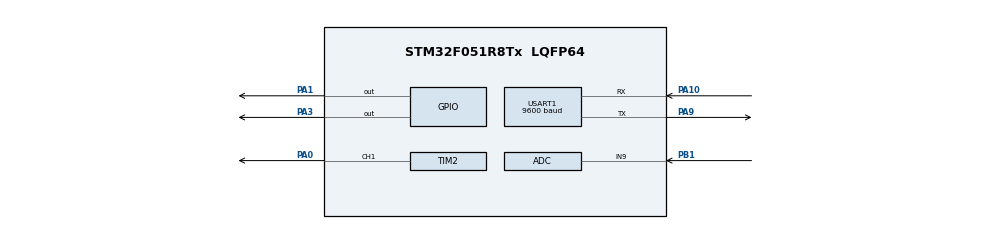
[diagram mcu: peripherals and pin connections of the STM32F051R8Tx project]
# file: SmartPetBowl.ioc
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ADC.ContinuousConvMode=ENABLE
Mcu.Family=STM32F0
Mcu.Name=STM32F051R8Tx
Mcu.Package=LQFP64
NVIC.ADC1_COMP_IRQn=true\:0\:0\:false\:false\:true\:true\:true
NVIC.TIM2_IRQn=true\:0\:0\:false\:false\:true\:true\:true
NVIC.USART1_IRQn=true\:0\:0\:false\:false\:true\:true\:true
PA0.Signal=S_TIM2_CH1_ETR
PA1.Signal=GPIO_Output
PA10.Mode=Asynchronous
PA10.Signal=USART1_RX
PA13.Mode=Serial_Wire
PA13.Signal=SYS_SWDIO
PA14.Mode=Serial_Wire
PA14.Signal=SYS_SWCLK
PA3.Signal=GPIO_Output
PA9.Mode=Asynchronous
PA9.Signal=USART1_TX
PB1.Mode=IN9
PB1.Signal=ADC_IN9
ProjectManager.HeapSize=0x200
ProjectManager.StackSize=0x400
ProjectManager.TargetToolchain=MDK-ARM V5
SH.S_TIM2_CH1_ETR.0=TIM2_CH1,PWM Generation1 CH1
TIM2.Channel-PWM\ Generation1\ CH1=TIM_CHANNEL_1
TIM2.Period=1000
TIM2.Prescaler=160
TIM2.Pulse-PWM\ Generation1\ CH1=500
USART1.BaudRate=9600
USART1.VirtualMode-Asynchronous=VM_ASYNC
board=custom

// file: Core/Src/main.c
/* USER CODE BEGIN Header */
/**
  ******************************************************************************
  * @file           : main.c
  * @brief          : Main program body
  ******************************************************************************
  * @attention
  *
  * Copyright (c) 2022 STMicroelectronics.
  * All rights reserved.
  *
  * This software is licensed under terms that can be found in the LICENSE file
  * in the root directory of this software component.
  * If no LICENSE file comes with this software, it is provided AS-IS.
  *
  ******************************************************************************
  */
/* USER CODE END Header */
#include "main.h"

/* USER CODE BEGIN Includes */
	#include "string.h"
	#include "stdio.h"
/* USER CODE END Includes */

/* USER CODE BEGIN PD */
uint16_t readValue;

/* USER CODE END PD */

ADC_HandleTypeDef hadc;

TIM_HandleTypeDef htim2;

UART_HandleTypeDef huart1;

/* USER CODE BEGIN PV */
uint8_t rxData;

/* USER CODE END PV */

void SystemClock_Config(void);
static void MX_GPIO_Init(void);
static void MX_TIM2_Init(void);
static void MX_ADC_Init(void);
static void MX_USART1_UART_Init(void);

/* USER CODE BEGIN 0 */

	void turn_on_servo(){
		HAL_Delay(400);
		TIM2->CCR1=60;
	}
	void turn_off_servo(){
		HAL_Delay(400);
		TIM2->CCR1=120;
	}

/* USER CODE END 0 */

int main(void)
{

  /* MCU Configuration--------------------------------------------------------*/

  /* Reset of all peripherals, Initializes the Flash interface and the Systick. */
  HAL_Init();

  /* Configure the system clock */
  SystemClock_Config();

  /* Initialize all configured peripherals */
  MX_GPIO_Init();
  MX_TIM2_Init();
  MX_ADC_Init();
  MX_USART1_UART_Init();
  /* USER CODE BEGIN 2 */
	HAL_TIM_PWM_Start(&htim2,TIM_CHANNEL_1);
	HAL_ADC_Start(&hadc);
	HAL_ADC_PollForConversion(&hadc,1000);
	HAL_UART_Receive_IT(&huart1,&rxData,1);

	//HAL_TIM_Base_Start_IT(&htim2);
  /* USER CODE END 2 */

  /* Infinite loop */
  while (1)
  {

    /* USER CODE BEGIN 3 */

	readValue = HAL_ADC_GetValue(&hadc);
	int adc=readValue;

		if(adc>70){
			turn_on_servo();
			HAL_Delay(1000);
			turn_off_servo();

				HAL_GPIO_WritePin(GPIOA,GPIO_PIN_3,GPIO_PIN_SET);
				HAL_Delay(1000);
				HAL_GPIO_WritePin(GPIOA,GPIO_PIN_3,GPIO_PIN_RESET);

		}

  }
  /* USER CODE END 3 */
}

void SystemClock_Config(void)
{
  RCC_OscInitTypeDef RCC_OscInitStruct = {0};
  RCC_ClkInitTypeDef RCC_ClkInitStruct = {0};
  RCC_PeriphCLKInitTypeDef PeriphClkInit = {0};

  /** Initializes the RCC Oscillators according to the specified parameters
  * in the RCC_OscInitTypeDef structure.
  */
  RCC_OscInitStruct.OscillatorType = RCC_OSCILLATORTYPE_HSI|RCC_OSCILLATORTYPE_HSI14;
  RCC_OscInitStruct.HSIState = RCC_HSI_ON;
  RCC_OscInitStruct.HSI14State = RCC_HSI14_ON;
  RCC_OscInitStruct.HSICalibrationValue = RCC_HSICALIBRATION_DEFAULT;
  RCC_OscInitStruct.HSI14CalibrationValue = 16;
  RCC_OscInitStruct.PLL.PLLState = RCC_PLL_NONE;
  if (HAL_RCC_OscConfig(&RCC_OscInitStruct) != HAL_OK)
  {
    Error_Handler();
  }
  /** Initializes the CPU, AHB and APB buses clocks
  */
  RCC_ClkInitStruct.ClockType = RCC_CLOCKTYPE_HCLK|RCC_CLOCKTYPE_SYSCLK
                              |RCC_CLOCKTYPE_PCLK1;
  RCC_ClkInitStruct.SYSCLKSource = RCC_SYSCLKSOURCE_HSI;
  RCC_ClkInitStruct.AHBCLKDivider = RCC_SYSCLK_DIV1;
  RCC_ClkInitStruct.APB1CLKDivider = RCC_HCLK_DIV1;

  if (HAL_RCC_ClockConfig(&RCC_ClkInitStruct, FLASH_LATENCY_0) != HAL_OK)
  {
    Error_Handler();
  }
  PeriphClkInit.PeriphClockSelection = RCC_PERIPHCLK_USART1;
  PeriphClkInit.Usart1ClockSelection = RCC_USART1CLKSOURCE_PCLK1;
  if (HAL_RCCEx_PeriphCLKConfig(&PeriphClkInit) != HAL_OK)
  {
    Error_Handler();
  }
}

static void MX_ADC_Init(void)
{

  ADC_ChannelConfTypeDef sConfig = {0};

  /** Configure the global features of the ADC (Clock, Resolution, Data Alignment and number of conversion)
  */
  hadc.Instance = ADC1;
  hadc.Init.ClockPrescaler = ADC_CLOCK_ASYNC_DIV1;
  hadc.Init.Resolution = ADC_RESOLUTION_12B;
  hadc.Init.DataAlign = ADC_DATAALIGN_RIGHT;
  hadc.Init.ScanConvMode = ADC_SCAN_DIRECTION_FORWARD;
  hadc.Init.EOCSelection = ADC_EOC_SINGLE_CONV;
  hadc.Init.LowPowerAutoWait = DISABLE;
  hadc.Init.LowPowerAutoPowerOff = DISABLE;
  hadc.Init.ContinuousConvMode = ENABLE;
  hadc.Init.DiscontinuousConvMode = DISABLE;
  hadc.Init.ExternalTrigConv = ADC_SOFTWARE_START;
  hadc.Init.ExternalTrigConvEdge = ADC_EXTERNALTRIGCONVEDGE_NONE;
  hadc.Init.DMAContinuousRequests = DISABLE;
  hadc.Init.Overrun = ADC_OVR_DATA_PRESERVED;
  if (HAL_ADC_Init(&hadc) != HAL_OK)
  {
    Error_Handler();
  }
  /** Configure for the selected ADC regular channel to be converted.
  */
  sConfig.Channel = ADC_CHANNEL_9;
  sConfig.Rank = ADC_RANK_CHANNEL_NUMBER;
  sConfig.SamplingTime = ADC_SAMPLETIME_1CYCLE_5;
  if (HAL_ADC_ConfigChannel(&hadc, &sConfig) != HAL_OK)
  {
    Error_Handler();
  }

}

static void MX_TIM2_Init(void)
{

  TIM_MasterConfigTypeDef sMasterConfig = {0};
  TIM_OC_InitTypeDef sConfigOC = {0};

  htim2.Instance = TIM2;
  htim2.Init.Prescaler = 160;
  htim2.Init.CounterMode = TIM_COUNTERMODE_UP;
  htim2.Init.Period = 1000;
  htim2.Init.ClockDivision = TIM_CLOCKDIVISION_DIV1;
  htim2.Init.AutoReloadPreload = TIM_AUTORELOAD_PRELOAD_DISABLE;
  if (HAL_TIM_PWM_Init(&htim2) != HAL_OK)
  {
    Error_Handler();
  }
  sMasterConfig.MasterOutputTrigger = TIM_TRGO_RESET;
  sMasterConfig.MasterSlaveMode = TIM_MASTERSLAVEMODE_DISABLE;
  if (HAL_TIMEx_MasterConfigSynchronization(&htim2, &sMasterConfig) != HAL_OK)
  {
    Error_Handler();
  }
  sConfigOC.OCMode = TIM_OCMODE_PWM1;
  sConfigOC.Pulse = 500;
  sConfigOC.OCPolarity = TIM_OCPOLARITY_HIGH;
  sConfigOC.OCFastMode = TIM_OCFAST_DISABLE;
  if (HAL_TIM_PWM_ConfigChannel(&htim2, &sConfigOC, TIM_CHANNEL_1) != HAL_OK)
  {
    Error_Handler();
  }
  HAL_TIM_MspPostInit(&htim2);

}

static void MX_USART1_UART_Init(void)
{

  huart1.Instance = USART1;
  huart1.Init.BaudRate = 9600;
  huart1.Init.WordLength = UART_WORDLENGTH_8B;
  huart1.Init.StopBits = UART_STOPBITS_1;
  huart1.Init.Parity = UART_PARITY_NONE;
  huart1.Init.Mode = UART_MODE_TX_RX;
  huart1.Init.HwFlowCtl = UART_HWCONTROL_NONE;
  huart1.Init.OverSampling = UART_OVERSAMPLING_16;
  huart1.Init.OneBitSampling = UART_ONE_BIT_SAMPLE_DISABLE;
  huart1.AdvancedInit.AdvFeatureInit = UART_ADVFEATURE_NO_INIT;
  if (HAL_UART_Init(&huart1) != HAL_OK)
  {
    Error_Handler();
  }

}

static void MX_GPIO_Init(void)
{
  GPIO_InitTypeDef GPIO_InitStruct = {0};

  /* GPIO Ports Clock Enable */
  __HAL_RCC_GPIOA_CLK_ENABLE();
  __HAL_RCC_GPIOB_CLK_ENABLE();

  /*Configure GPIO pin Output Level */
  HAL_GPIO_WritePin(GPIOA, GPIO_PIN_1|GPIO_PIN_3, GPIO_PIN_RESET);

  /*Configure GPIO pins : PA1 PA3 */
  GPIO_InitStruct.Pin = GPIO_PIN_1|GPIO_PIN_3;
  GPIO_InitStruct.Mode = GPIO_MODE_OUTPUT_PP;
  GPIO_InitStruct.Pull = GPIO_NOPULL;
  GPIO_InitStruct.Speed = GPIO_SPEED_FREQ_LOW;
  HAL_GPIO_Init(GPIOA, &GPIO_InitStruct);

}

/* USER CODE BEGIN 4 */

void HAL_UART_RxCpltCallback(UART_HandleTypeDef *huart)
{
  if(huart->Instance==USART1)
  {
    if(rxData==78) // Ascii value of 'N' is 78 (N for NO)
    {
    	HAL_GPIO_WritePin(GPIOA, GPIO_PIN_1, 0);
    }
    else if (rxData==89) // Ascii value of 'Y' is 89 (Y for YES)
    {
    	HAL_GPIO_WritePin(GPIOA, GPIO_PIN_1, 1);
    }
    HAL_UART_Receive_IT(&huart1,&rxData,1); // Enabling interrupt receive again
  }
}

/* USER CODE END 4 */

void Error_Handler(void)
{
  __disable_irq();
  while (1)
  {
  }
}
